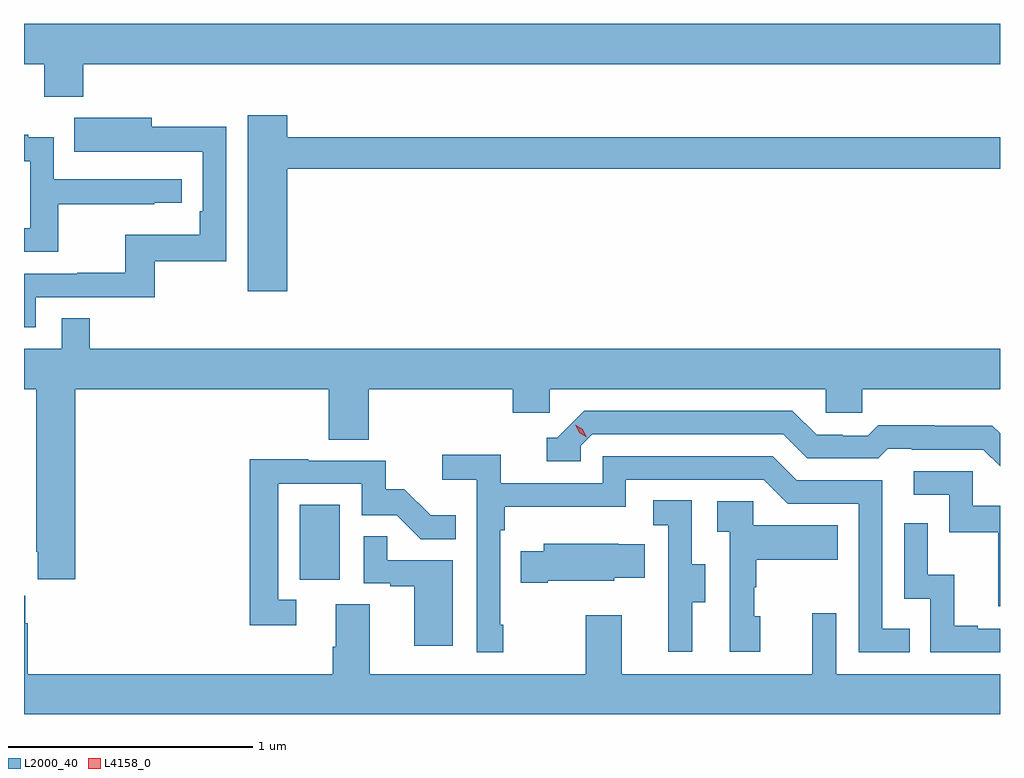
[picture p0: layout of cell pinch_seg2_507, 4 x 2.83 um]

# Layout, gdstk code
import gdstk
lib = gdstk.Library(unit=1e-6, precision=1e-09)
def R(c, l, rs):  # rectangles x0, y0, x1, y1
    for r in rs: c.add(gdstk.rectangle(r[:2], r[2:], *l))
def P(c, l, *ps):  # polygons
    for p in ps: c.add(gdstk.Polygon(p, *l))
L2000_40 = (2000, 40)
L4158_0 = (4158, 0)

pinch_seg2_507 = lib.new_cell('pinch_seg2_507')
R(pinch_seg2_507, L2000_40, [(1000.04,593.574,1000.204,593.881)])
P(pinch_seg2_507, L2000_40, [(999.152,595.688),(1002.909,595.688),(1002.909,595.852),(998.909,595.852),(998.909,595.688),(998.992,595.688),(998.992,595.553),(999.152,595.553)],
  [(999.988,595.258),(1002.909,595.258),(1002.909,595.387),(999.988,595.387),(999.988,595.477),(999.827,595.477),(999.827,594.756),(999.988,594.756)],
  [(998.958,594.732),(999.445,594.732),(999.445,594.879),(999.738,594.879),(999.738,595.43),(999.433,595.43),(999.433,595.468),(999.115,595.468),(999.115,595.328),(999.329,595.328),(999.329,595.329),(999.642,595.329),(999.642,595.084),(999.629,595.084),(999.629,594.988),(999.324,594.988),(999.324,594.833),(999.127,594.833),(999.127,594.828),(998.909,594.828),(998.909,594.609),(998.958,594.609)],
  [(999.05,595.114),(999.443,595.114),(999.443,595.119),(999.556,595.119),(999.556,595.215),(999.03,595.215),(999.03,595.387),(998.927,595.387),(998.927,595.399),(998.909,595.399),(998.909,595.29),(998.934,595.29),(998.934,595.014),(998.909,595.014),(998.909,594.918),(999.05,594.918)],
  [(999.119,594.356),(1000.157,594.356),(1000.157,594.148),(1000.322,594.148),(1000.322,594.356),(1000.913,594.356),(1000.913,594.258),(1001.064,594.258),(1001.064,594.356),(1002.195,594.356),(1002.195,594.258),(1002.345,594.258),(1002.345,594.356),(1002.909,594.356),(1002.909,594.52),(999.179,594.52),(999.179,594.647),(999.063,594.647),(999.063,594.52),(998.909,594.52),(998.909,594.356),(998.959,594.356),(998.959,593.689),(998.965,593.689),(998.965,593.577),(999.119,593.577)],
  [(1002.909,594.174),(1002.878,594.205),(1002.642,594.205),(1002.642,594.208),(1002.409,594.208),(1002.367,594.165),(1002.264,594.165),(1002.264,594.168),(1002.157,594.168),(1002.058,594.267),(1001.205,594.267),(1001.094,594.156),(1001.051,594.156),(1001.051,594.06),(1001.19,594.06),(1001.19,594.123),(1001.238,594.171),(1002.021,594.171),(1002.12,594.072),(1002.409,594.072),(1002.448,594.111),(1002.547,594.111),(1002.547,594.108),(1002.84,594.108),(1002.909,594.039)],
  [(1000.873,593.389),(1000.86,593.389),(1000.86,593.777),(1000.88,593.777),(1000.88,593.873),(1001.376,593.873),(1001.376,593.985),(1001.94,593.985),(1002.039,593.886),(1002.33,593.886),(1002.33,593.277),(1002.539,593.277),(1002.539,593.373),(1002.426,593.373),(1002.426,593.982),(1002.076,593.982),(1001.977,594.081),(1001.28,594.081),(1001.28,593.97),(1000.862,593.97),(1000.862,594.086),(1000.623,594.086),(1000.623,593.984),(1000.764,593.984),(1000.764,593.277),(1000.873,593.277)],
  [(1000.024,593.493),(999.951,593.493),(999.951,593.967),(1000.293,593.967),(1000.293,593.838),(1000.437,593.838),(1000.535,593.74),(1000.679,593.74),(1000.679,593.839),(1000.575,593.839),(1000.468,593.946),(1000.392,593.946),(1000.392,594.063),(1000.073,594.063),(1000.073,594.068),(999.835,594.068),(999.835,593.388),(1000.024,593.388)],
  [(1002.909,593.877),(1002.798,593.877),(1002.798,594.018),(1002.555,594.018),(1002.555,593.922),(1002.702,593.922),(1002.702,593.769),(1002.901,593.769),(1002.901,593.466),(1002.909,593.466)],
  [(1001.647,593.482),(1001.701,593.482),(1001.701,593.637),(1001.646,593.637),(1001.646,593.9),(1001.487,593.9),(1001.487,593.797),(1001.55,593.797),(1001.55,593.493),(1001.549,593.493),(1001.549,593.28),(1001.647,593.28)],
  [(1001.926,593.424),(1001.901,593.424),(1001.901,593.543),(1001.911,593.543),(1001.911,593.657),(1002.245,593.657),(1002.245,593.797),(1001.898,593.797),(1001.898,593.895),(1001.751,593.895),(1001.751,593.771),(1001.802,593.771),(1001.802,593.28),(1001.926,593.28)],
  [(1002.909,593.373),(1002.817,593.373),(1002.817,593.386),(1002.722,593.386),(1002.722,593.594),(1002.612,593.594),(1002.612,593.806),(1002.516,593.806),(1002.516,593.496),(1002.624,593.496),(1002.624,593.277),(1002.909,593.277)],
  [(1000.666,593.655),(1000.397,593.655),(1000.397,593.753),(1000.302,593.753),(1000.302,593.559),(1000.409,593.559),(1000.409,593.547),(1000.508,593.547),(1000.508,593.304),(1000.666,593.304)],
  [(1001.056,593.57),(1001.328,593.57),(1001.328,593.582),(1001.453,593.582),(1001.453,593.719),(1001.345,593.719),(1001.345,593.722),(1001.039,593.722),(1001.039,593.692),(1000.945,593.692),(1000.945,593.563),(1001.056,593.563)],
  [(1002.909,593.188),(1002.237,593.188),(1002.237,593.437),(1002.14,593.437),(1002.14,593.188),(1001.359,593.188),(1001.359,593.428),(1001.212,593.428),(1001.212,593.188),(1000.327,593.188),(1000.327,593.474),(1000.187,593.474),(1000.187,593.3),(1000.175,593.3),(1000.175,593.188),(998.924,593.188),(998.924,593.396),(998.914,593.396),(998.914,593.509),(998.909,593.509),(998.909,593.024),(1002.909,593.024)])
P(pinch_seg2_507, L4158_0, [(1001.215,594.158),(1001.184,594.177),(1001.168,594.21),(1001.168,594.21),(1001.168,594.21),(1001.199,594.191),(1001.215,594.159),(1001.215,594.158)])

lib.write_gds('pinch_seg2_507.gds')
